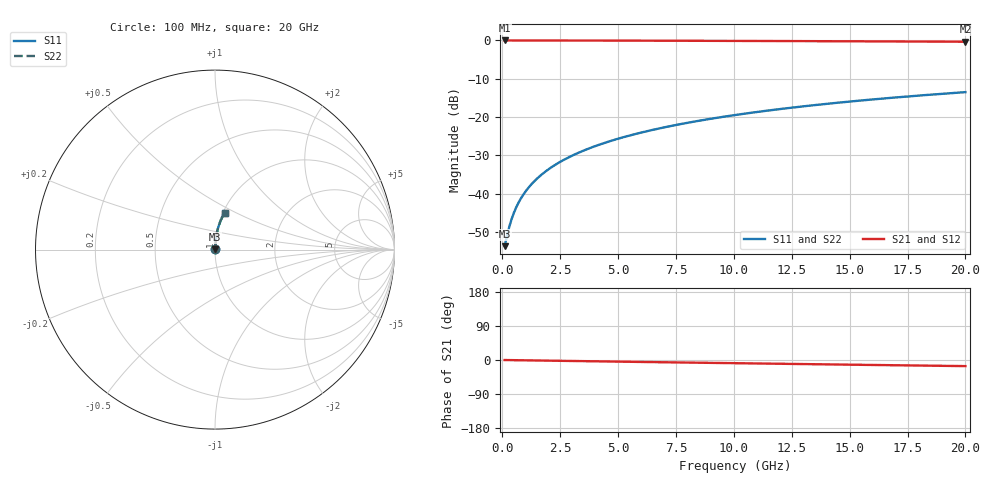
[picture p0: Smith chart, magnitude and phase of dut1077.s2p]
! Touchstone file exported from HFSS 2024.1.0
!  File:  C:/UserFiles/LocalFiles/RDL_TSV_Batchsim/temp_RDL_bottom_1077_1780053048.aedt
!  Generated:  07:13:26 PM May 29, 2026
!  Design:  RDL_bottom
!  Project:  temp_RDL_bottom_1077_1780053048
!  Setup:  Setup1
!  Solution:  Sweep
! Variables:
!  dtsv = 10.80580581um
!  hbump = 3um
!  htsv = 99.95um
!  ldown = 163.44um
!  lrdl = 100um
!  p = 40
!  p1 = 48.48um
!  rhole = 1um
!  t = 450um
!  tdown = 2.72um
!  trdl = 3.915915916um
!  wdown = 13.8um
!  wrdl = 20um
# GHz S MA R 50.000000
! Terminal data exported
! Port[1] = RDL1_T1
! Port[2] = RDL1_T2
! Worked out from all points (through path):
!   200 points, 100 MHz to 20 GHz, reference 50 ohm
!   highest |S21| = -0.02 dB at 100 MHz (marker M1); lowest = -0.3 dB at 20 GHz (marker M2)
!   group delay of S21, straight-line fit = 2.23 ps
!   lowest |S11| = -53.6 dB at 100 MHz (marker M3), VSWR 1.00, Z = 50.2 + j0.108 ohm
!   |S11| at or under -10 dB: start of sweep to end of sweep
!   |S22| runs from -53.6 to -13.5 dB; largest |S21 - S12| = 5.1e-15
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0.1  0.002079 31.3  0.9982 -0.1  0.9982 -0.1  0.002079 31.3
! Gamma 0 0 0 0
! Port Impedance 50 0 50 0
0.2  0.002807 50.2  0.9982 -0.2  0.9982 -0.2  0.002807 50.2
0.3  0.003705 60.4  0.9982 -0.3  0.9982 -0.3  0.003705 60.4
0.4  0.004668 66.4  0.9981 -0.4  0.9981 -0.4  0.004668 66.4
0.5  0.005656 70.3  0.9981 -0.4  0.9981 -0.4  0.005656 70.3
0.6  0.006656 73.0  0.998 -0.5  0.998 -0.5  0.006656 73.0
0.8  0.008671 76.6  0.9979 -0.7  0.9979 -0.7  0.008671 76.6
1.1  0.01171 79.6  0.9978 -1.0  0.9978 -1.0  0.01171 79.6
1.5  0.01579 81.9  0.9976 -1.3  0.9976 -1.3  0.01579 81.9
1.8  0.01887 82.9  0.9974 -1.6  0.9974 -1.6  0.01887 82.9
2.1  0.02196 83.6  0.9972 -1.8  0.9972 -1.8  0.02196 83.6
2.7  0.02818 84.5  0.9967 -2.4  0.9967 -2.4  0.02818 84.5
3.5  0.03651 85.1  0.9959 -3.0  0.9959 -3.0  0.03651 85.1
4.2  0.04385 85.2  0.9951 -3.6  0.9951 -3.6  0.04385 85.2
5  0.0523 85.2  0.9941 -4.3  0.9941 -4.3  0.0523 85.2
5.9  0.06186 85.0  0.9927 -5.1  0.9927 -5.1  0.06186 85.0
6.8  0.07147 84.7  0.9912 -5.8  0.9912 -5.8  0.07147 84.7
8.3  0.08758 83.9  0.9885 -7.1  0.9885 -7.1  0.08758 84.0
10.1  0.107 82.9  0.9849 -8.5  0.9849 -8.5  0.107 82.9
13.4  0.1425 80.5  0.9776 -11.1  0.9776 -11.1  0.1425 80.5
16.7  0.1774 78.0  0.9696 -13.6  0.9696 -13.6  0.1774 78.0
20  0.2115 75.5  0.961 -16.1  0.961 -16.1  0.2116 75.5
